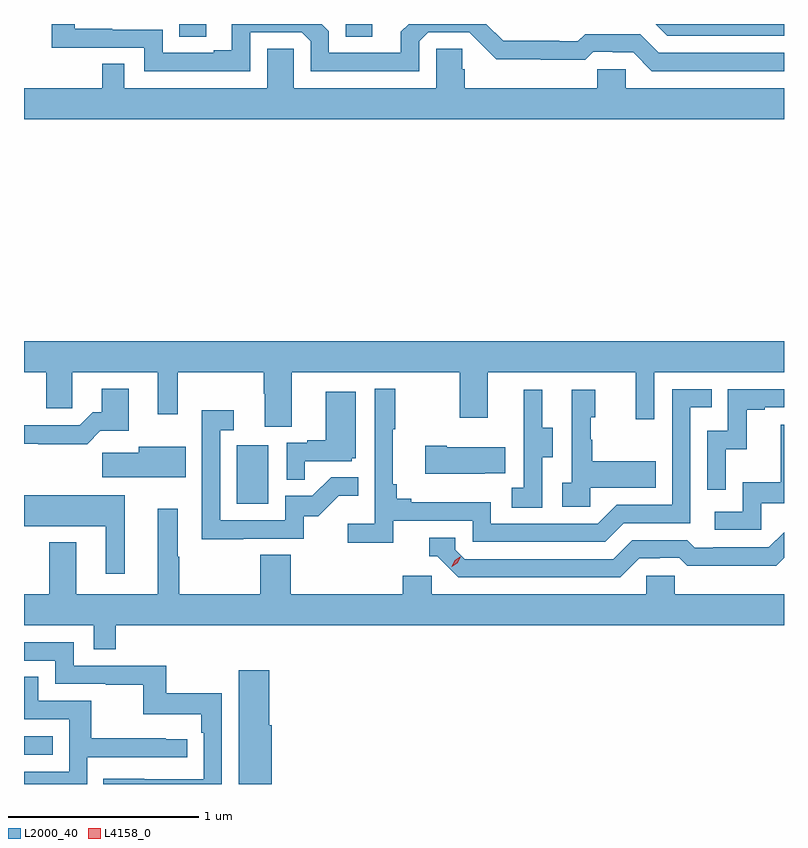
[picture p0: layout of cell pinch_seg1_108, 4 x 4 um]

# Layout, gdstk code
import gdstk
lib = gdstk.Library(unit=1e-6, precision=1e-09)
def R(c, l, rs):  # rectangles x0, y0, x1, y1
    for r in rs: c.add(gdstk.rectangle(r[:2], r[2:], *l))
def P(c, l, *ps):  # polygons
    for p in ps: c.add(gdstk.Polygon(p, *l))
L2000_40 = (2000, 40)
L4158_0 = (4158, 0)

pinch_seg1_108 = lib.new_cell('pinch_seg1_108')
R(pinch_seg1_108, L2000_40, [(1030.887,553.716,1031.039,553.812), (1032.008,555.036,1032.172,555.343), (1031.705,557.494,1031.845,557.561), (1032.581,557.494,1032.721,557.561)])
P(pinch_seg1_108, L2000_40, [(1034.887,557.561),(1034.211,557.561),(1034.273,557.499),(1034.887,557.499)],
  [(1032.078,557.517),(1032.348,557.517),(1032.396,557.469),(1032.396,557.313),(1032.966,557.313),(1032.966,557.469),(1033.014,557.517),(1033.23,557.517),(1033.372,557.375),(1033.608,557.375),(1033.608,557.373),(1033.841,557.373),(1033.883,557.415),(1033.986,557.415),(1033.986,557.412),(1034.093,557.412),(1034.192,557.313),(1034.887,557.313),(1034.887,557.409),(1034.229,557.409),(1034.13,557.508),(1033.841,557.508),(1033.802,557.469),(1033.703,557.469),(1033.703,557.472),(1033.41,557.472),(1033.321,557.561),(1032.911,557.561),(1032.869,557.519),(1032.869,557.409),(1032.492,557.409),(1032.492,557.523),(1032.454,557.561),(1031.981,557.561),(1031.981,557.422),(1031.885,557.422),(1031.885,557.409),(1031.616,557.409),(1031.616,557.532),(1031.351,557.532),(1031.351,557.537),(1031.155,557.537),(1031.155,557.561),(1031.034,557.561),(1031.034,557.436),(1031.52,557.436),(1031.52,557.313),(1032.078,557.313)],
  [(1034.887,557.224),(1034.055,557.224),(1034.055,557.322),(1033.905,557.322),(1033.905,557.224),(1033.208,557.224),(1033.208,557.322),(1033.193,557.322),(1033.193,557.432),(1033.056,557.432),(1033.056,557.224),(1032.306,557.224),(1032.306,557.432),(1032.167,557.432),(1032.167,557.224),(1031.415,557.224),(1031.415,557.351),(1031.299,557.351),(1031.299,557.224),(1030.887,557.224),(1030.887,557.06),(1034.887,557.06)],
  [(1032.295,555.728),(1033.18,555.728),(1033.18,555.489),(1033.327,555.489),(1033.327,555.728),(1034.108,555.728),(1034.108,555.48),(1034.205,555.48),(1034.205,555.728),(1034.887,555.728),(1034.887,555.892),(1030.887,555.892),(1030.887,555.728),(1031.003,555.728),(1031.003,555.538),(1031.142,555.538),(1031.142,555.728),(1031.591,555.728),(1031.591,555.507),(1031.695,555.507),(1031.695,555.728),(1032.148,555.728),(1032.148,555.616),(1032.155,555.616),(1032.155,555.442),(1032.295,555.442)],
  [(1031.288,555.419),(1031.437,555.419),(1031.437,555.64),(1031.297,555.64),(1031.297,555.517),(1031.248,555.517),(1031.181,555.45),(1030.887,555.45),(1030.887,555.352),(1030.963,555.352),(1030.963,555.35),(1031.219,555.35)],
  [(1032.83,554.946),(1033.248,554.946),(1033.248,554.835),(1033.945,554.835),(1034.044,554.934),(1034.394,554.934),(1034.394,555.543),(1034.507,555.543),(1034.507,555.639),(1034.298,555.639),(1034.298,555.03),(1034.007,555.03),(1033.908,554.931),(1033.344,554.931),(1033.344,555.043),(1032.925,555.043),(1032.925,555.062),(1032.848,555.062),(1032.848,555.139),(1032.829,555.139),(1032.829,555.427),(1032.841,555.427),(1032.841,555.64),(1032.732,555.64),(1032.732,554.932),(1032.591,554.932),(1032.591,554.83),(1032.83,554.83)],
  [(1034.58,555.323),(1034.69,555.323),(1034.69,555.531),(1034.785,555.531),(1034.785,555.543),(1034.887,555.543),(1034.887,555.639),(1034.592,555.639),(1034.592,555.42),(1034.484,555.42),(1034.484,555.111),(1034.58,555.111)],
  [(1033.866,555.119),(1034.213,555.119),(1034.213,555.259),(1033.879,555.259),(1033.879,555.374),(1033.869,555.374),(1033.869,555.492),(1033.894,555.492),(1033.894,555.637),(1033.77,555.637),(1033.77,555.146),(1033.719,555.146),(1033.719,555.021),(1033.866,555.021)],
  [(1033.614,555.28),(1033.669,555.28),(1033.669,555.435),(1033.615,555.435),(1033.615,555.637),(1033.517,555.637),(1033.517,555.423),(1033.518,555.423),(1033.518,555.119),(1033.455,555.119),(1033.455,555.016),(1033.614,555.016)],
  [(1032.365,555.261),(1032.612,555.261),(1032.612,555.276),(1032.634,555.276),(1032.634,555.625),(1032.476,555.625),(1032.476,555.37),(1032.377,555.37),(1032.377,555.357),(1032.27,555.357),(1032.27,555.163),(1032.365,555.163)],
  [(1032.041,554.853),(1032.36,554.853),(1032.36,554.97),(1032.436,554.97),(1032.543,555.077),(1032.647,555.077),(1032.647,555.176),(1032.503,555.176),(1032.405,555.078),(1032.261,555.078),(1032.261,554.949),(1031.919,554.949),(1031.919,555.423),(1031.992,555.423),(1031.992,555.529),(1031.823,555.529),(1031.823,554.848),(1032.041,554.848)],
  [(1034.766,555.039),(1034.887,555.039),(1034.887,555.451),(1034.869,555.451),(1034.869,555.148),(1034.67,555.148),(1034.67,554.994),(1034.523,554.994),(1034.523,554.898),(1034.766,554.898)],
  [(1033.313,555.197),(1033.421,555.197),(1033.421,555.334),(1033.111,555.334),(1033.111,555.342),(1032.999,555.342),(1032.999,555.194),(1033.313,555.194)],
  [(1031.737,555.337),(1031.492,555.337),(1031.492,555.305),(1031.298,555.305),(1031.298,555.176),(1031.737,555.176)],
  [(1031.416,555.082),(1030.887,555.082),(1030.887,554.918),(1031.318,554.918),(1031.318,554.667),(1031.416,554.667)],
  [(1031.161,554.833),(1031.021,554.833),(1031.021,554.56),(1030.887,554.56),(1030.887,554.396),(1031.253,554.396),(1031.253,554.269),(1031.369,554.269),(1031.369,554.396),(1034.887,554.396),(1034.887,554.56),(1034.313,554.56),(1034.313,554.658),(1034.163,554.658),(1034.163,554.56),(1033.032,554.56),(1033.032,554.658),(1032.881,554.658),(1032.881,554.56),(1032.29,554.56),(1032.29,554.768),(1032.13,554.768),(1032.13,554.56),(1031.705,554.56),(1031.705,554.756),(1031.695,554.756),(1031.695,555.01),(1031.591,555.01),(1031.591,554.56),(1031.161,554.56)],
  [(1034.125,554.748),(1034.232,554.748),(1034.232,554.751),(1034.335,554.751),(1034.377,554.709),(1034.61,554.709),(1034.61,554.711),(1034.846,554.711),(1034.887,554.752),(1034.887,554.887),(1034.808,554.808),(1034.515,554.808),(1034.515,554.805),(1034.416,554.805),(1034.377,554.844),(1034.088,554.844),(1033.989,554.745),(1033.206,554.745),(1033.158,554.793),(1033.158,554.856),(1033.019,554.856),(1033.019,554.76),(1033.062,554.76),(1033.173,554.649),(1034.026,554.649)],
  [(1031.928,554.038),(1031.635,554.038),(1031.635,554.184),(1031.148,554.184),(1031.148,554.307),(1030.887,554.307),(1030.887,554.211),(1031.052,554.211),(1031.052,554.088),(1031.317,554.088),(1031.317,554.083),(1031.514,554.083),(1031.514,553.928),(1031.819,553.928),(1031.819,553.832),(1031.832,553.832),(1031.832,553.587),(1031.519,553.587),(1031.519,553.588),(1031.305,553.588),(1031.305,553.561),(1031.928,553.561)],
  [(1032.19,553.869),(1032.178,553.869),(1032.178,554.161),(1032.017,554.161),(1032.017,553.561),(1032.19,553.561)],
  [(1031.22,553.701),(1031.746,553.701),(1031.746,553.797),(1031.633,553.797),(1031.633,553.802),(1031.24,553.802),(1031.24,553.998),(1030.963,553.998),(1030.963,554.126),(1030.887,554.126),(1030.887,553.902),(1031.124,553.902),(1031.124,553.626),(1030.887,553.626),(1030.887,553.561),(1031.22,553.561)])
P(pinch_seg1_108, L4158_0, [(1033.137,554.705),(1033.137,554.705),(1033.154,554.738),(1033.184,554.757),(1033.185,554.757),(1033.185,554.756),(1033.168,554.724),(1033.137,554.705)])

lib.write_gds('pinch_seg1_108.gds')
